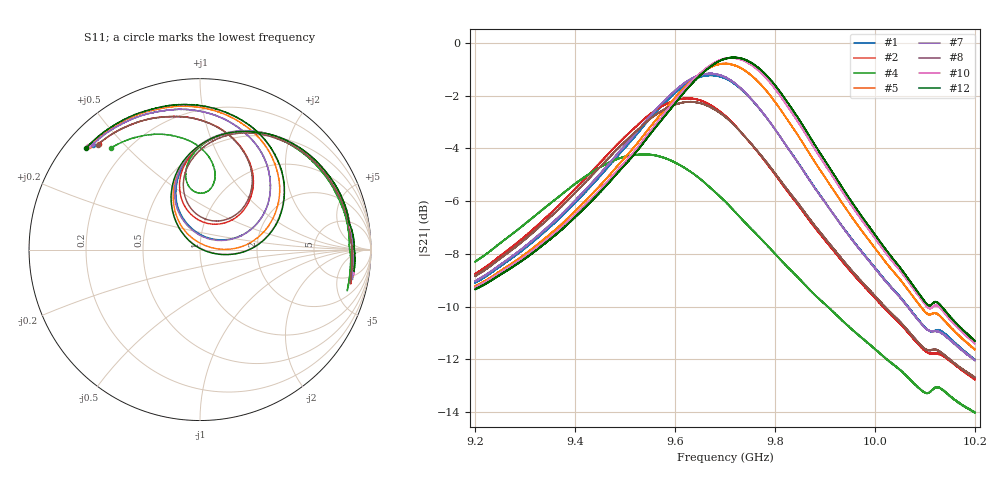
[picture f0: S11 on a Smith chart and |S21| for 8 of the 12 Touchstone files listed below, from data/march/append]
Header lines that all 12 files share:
!Agilent Technologies,N5242A,MY51221714,A.09.90.19
!Agilent N5242A: A.09.90.19
!Correction: S11(Full 2 Port(1,2))
!S21(Full 2 Port(1,2))
!S12(Full 2 Port(1,2))
!S22(Full 2 Port(1,2))
!S2P File: Measurements: S11, S21, S12, S22:
# Hz S  dB  R 50
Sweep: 9.2 GHz to 10.2 GHz
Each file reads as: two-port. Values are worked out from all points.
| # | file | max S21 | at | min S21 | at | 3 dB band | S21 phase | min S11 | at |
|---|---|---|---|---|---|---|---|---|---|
| 1 | d8_1.s2p | -1.22 dB | 9.672 GHz | -12.0 dB | 10.2 GHz | 9.489 GHz-9.834 GHz | -124 deg at 9.7 GHz | -21.9 dB | 9.675 GHz |
| 2 | d8_2.s2p | -2.10 dB | 9.626 GHz | -12.8 dB | 10.2 GHz | 9.422 GHz-9.804 GHz | -137 deg at 9.7 GHz | -16.0 dB | 9.628 GHz |
| 3 | d9_1.s2p | -2.05 dB | 9.629 GHz | -12.7 dB | 10.2 GHz | 9.425 GHz-9.803 GHz | -137 deg at 9.7 GHz | -15.6 dB | 9.63 GHz |
| 4 | d9_2.s2p | -4.22 dB | 9.545 GHz | -14.0 dB | 10.2 GHz | 9.277 GHz-9.761 GHz | -150 deg at 9.7 GHz | -9.7 dB | 9.545 GHz |
| 5 | d10_1.s2p | -0.78 dB | 9.7 GHz | -11.6 dB | 10.2 GHz | 9.526 GHz-9.855 GHz | -115 deg at 9.7 GHz | -29.5 dB | 9.702 GHz |
| 6 | d10_2.s2p | -1.76 dB | 9.663 GHz | -12.2 dB | 10.2 GHz | 9.469 GHz-9.837 GHz | -125 deg at 9.7 GHz | -18.0 dB | 9.668 GHz |
| 7 | d11_1.s2p | -1.16 dB | 9.672 GHz | -12.1 dB | 10.2 GHz | 9.488 GHz-9.831 GHz | -125 deg at 9.7 GHz | -22.5 dB | 9.673 GHz |
| 8 | d11_2.s2p | -2.22 dB | 9.631 GHz | -12.7 dB | 10.2 GHz | 9.424 GHz-9.811 GHz | -135 deg at 9.7 GHz | -14.9 dB | 9.637 GHz |
| 9 | d12_1.s2p | -0.57 dB | 9.716 GHz | -11.4 dB | 10.2 GHz | 9.543 GHz-9.866 GHz | -109 deg at 9.7 GHz | -42.3 dB | 9.715 GHz |
| 10 | d12_2.s2p | -0.57 dB | 9.712 GHz | -11.4 dB | 10.2 GHz | 9.542 GHz-9.865 GHz | -110 deg at 9.7 GHz | -42.8 dB | 9.714 GHz |
| 11 | d13_1.s2p | -0.54 dB | 9.718 GHz | -11.3 dB | 10.2 GHz | 9.549 GHz-9.87 GHz | -108 deg at 9.7 GHz | -47.2 dB | 9.72 GHz |
| 12 | d13_2.s2p | -0.55 dB | 9.721 GHz | -11.3 dB | 10.2 GHz | 9.547 GHz-9.869 GHz | -108 deg at 9.7 GHz | -45.2 dB | 9.719 GHz |
